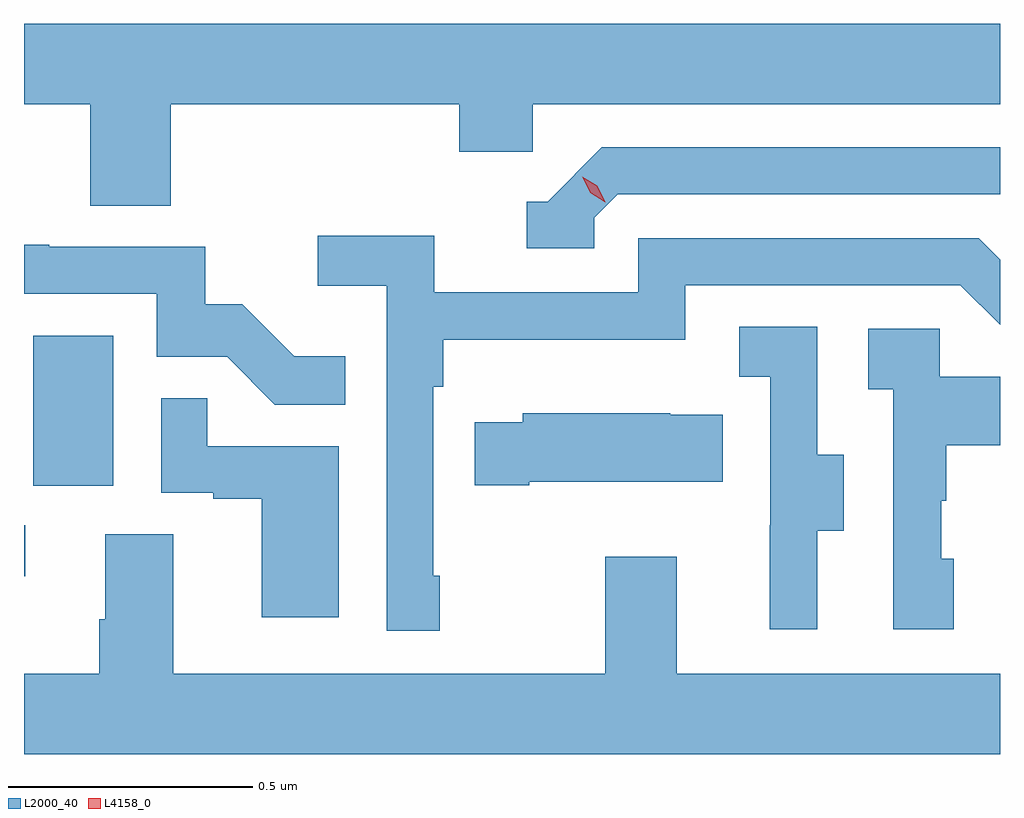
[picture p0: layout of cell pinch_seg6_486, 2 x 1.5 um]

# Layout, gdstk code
import gdstk
lib = gdstk.Library(unit=1e-6, precision=1e-09)
def R(c, l, rs):  # rectangles x0, y0, x1, y1
    for r in rs: c.add(gdstk.rectangle(r[:2], r[2:], *l))
def P(c, l, *ps):  # polygons
    for p in ps: c.add(gdstk.Polygon(p, *l))
L2000_40 = (2000, 40)
L4158_0 = (4158, 0)

pinch_seg6_486 = lib.new_cell('pinch_seg6_486')
R(pinch_seg6_486, L2000_40, [(862.381,921.06,862.384,921.165), (862.4,921.246,862.564,921.553)])
P(pinch_seg6_486, L2000_40, [(862.682,922.028),(863.273,922.028),(863.273,921.93),(863.424,921.93),(863.424,922.028),(864.381,922.028),(864.381,922.192),(862.381,922.192),(862.381,922.028),(862.517,922.028),(862.517,921.82),(862.682,921.82)],
  [(863.55,921.795),(863.598,921.843),(864.381,921.843),(864.381,921.939),(863.565,921.939),(863.454,921.828),(863.411,921.828),(863.411,921.732),(863.55,921.732)],
  [(863.233,921.061),(863.22,921.061),(863.22,921.449),(863.24,921.449),(863.24,921.545),(863.736,921.545),(863.736,921.657),(864.3,921.657),(864.381,921.576),(864.381,921.709),(864.337,921.753),(863.64,921.753),(863.64,921.642),(863.222,921.642),(863.222,921.758),(862.983,921.758),(862.983,921.656),(863.124,921.656),(863.124,920.949),(863.233,920.949)],
  [(863.039,921.511),(862.935,921.511),(862.828,921.618),(862.752,921.618),(862.752,921.735),(862.433,921.735),(862.433,921.74),(862.381,921.74),(862.381,921.639),(862.653,921.639),(862.653,921.51),(862.797,921.51),(862.895,921.412),(863.039,921.412)],
  [(864.007,921.154),(864.061,921.154),(864.061,921.309),(864.006,921.309),(864.006,921.572),(863.847,921.572),(863.847,921.469),(863.91,921.469),(863.91,921.165),(863.909,921.165),(863.909,920.952),(864.007,920.952)],
  [(864.286,921.096),(864.261,921.096),(864.261,921.215),(864.271,921.215),(864.271,921.329),(864.381,921.329),(864.381,921.469),(864.258,921.469),(864.258,921.567),(864.111,921.567),(864.111,921.443),(864.162,921.443),(864.162,920.952),(864.286,920.952)],
  [(863.026,921.327),(862.757,921.327),(862.757,921.425),(862.662,921.425),(862.662,921.231),(862.769,921.231),(862.769,921.219),(862.868,921.219),(862.868,920.976),(863.026,920.976)],
  [(863.416,921.254),(863.813,921.254),(863.813,921.391),(863.705,921.391),(863.705,921.394),(863.403,921.394),(863.403,921.376),(863.305,921.376),(863.305,921.247),(863.416,921.247)],
  [(864.381,920.86),(863.719,920.86),(863.719,921.1),(863.572,921.1),(863.572,920.86),(862.687,920.86),(862.687,921.146),(862.547,921.146),(862.547,920.972),(862.535,920.972),(862.535,920.86),(862.381,920.86),(862.381,920.696),(864.381,920.696)])
P(pinch_seg6_486, L4158_0, [(863.572,921.827),(863.541,921.846),(863.525,921.879),(863.525,921.879),(863.525,921.879),(863.556,921.86),(863.572,921.828),(863.572,921.827)])

lib.write_gds('pinch_seg6_486.gds')
